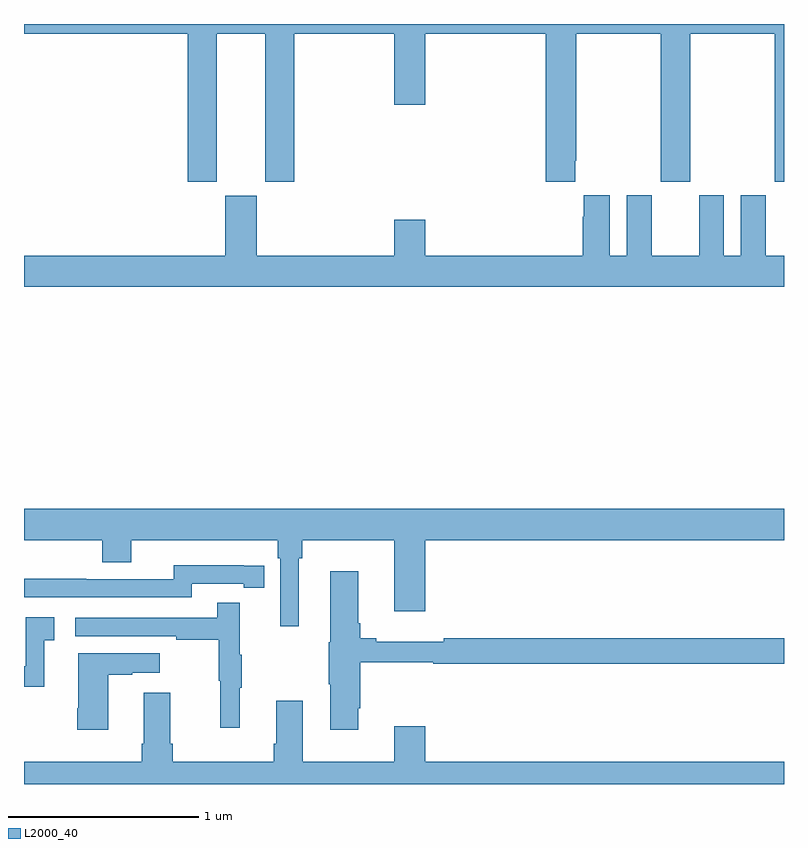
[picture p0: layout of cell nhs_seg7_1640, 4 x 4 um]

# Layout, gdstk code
import gdstk
lib = gdstk.Library(unit=1e-6, precision=1e-09)
def P(c, l, *ps):  # polygons
    for p in ps: c.add(gdstk.Polygon(p, *l))
L2000_40 = (2000, 40)

nhs_seg7_1640 = lib.new_cell('nhs_seg7_1640')
P(nhs_seg7_1640, L2000_40, [(224.014,1001.948),(224.27,1001.948),(224.27,1001.169),(224.423,1001.169),(224.423,1001.948),(224.948,1001.948),(224.948,1001.574),(225.112,1001.574),(225.112,1001.948),(225.746,1001.948),(225.746,1001.169),(225.901,1001.169),(225.901,1001.281),(225.906,1001.281),(225.906,1001.948),(226.351,1001.948),(226.351,1001.169),(226.506,1001.169),(226.506,1001.948),(226.951,1001.948),(226.951,1001.169),(227,1001.169),(227,1002),(223,1002),(223,1001.948),(223.862,1001.948),(223.862,1001.169),(224.014,1001.169)],
  [(227,1000.78),(226.903,1000.78),(226.903,1001.098),(226.772,1001.098),(226.772,1000.78),(226.684,1000.78),(226.684,1001.098),(226.553,1001.098),(226.553,1000.78),(226.303,1000.78),(226.303,1001.098),(226.172,1001.098),(226.172,1000.78),(226.084,1000.78),(226.084,1001.098),(225.947,1001.098),(225.947,1000.985),(225.941,1000.985),(225.941,1000.78),(225.112,1000.78),(225.112,1000.969),(224.948,1000.969),(224.948,1000.78),(224.224,1000.78),(224.224,1001.097),(224.06,1001.097),(224.06,1000.78),(223,1000.78),(223,1000.616),(227,1000.616)],
  [(224.446,999.188),(224.465,999.188),(224.465,999.284),(224.948,999.284),(224.948,998.91),(225.112,998.91),(225.112,999.284),(227,999.284),(227,999.448),(223,999.448),(223,999.284),(223.412,999.284),(223.412,999.167),(223.564,999.167),(223.564,999.284),(224.336,999.284),(224.336,999.188),(224.349,999.188),(224.349,998.829),(224.446,998.829)],
  [(223.884,999.054),(224.156,999.054),(224.156,999.034),(224.264,999.034),(224.264,999.15),(224.156,999.15),(224.156,999.151),(223.788,999.151),(223.788,999.078),(223.328,999.078),(223.328,999.08),(223,999.08),(223,998.982),(223.884,998.982)],
  [(224.758,998.398),(224.771,998.398),(224.771,998.64),(225.154,998.64),(225.154,998.632),(227,998.632),(227,998.768),(225.208,998.768),(225.208,998.749),(224.854,998.749),(224.854,998.768),(224.771,998.768),(224.771,998.845),(224.758,998.845),(224.758,999.121),(224.612,999.121),(224.612,998.745),(224.605,998.745),(224.605,998.524),(224.612,998.524),(224.612,998.286),(224.758,998.286)],
  [(224.135,998.507),(224.146,998.507),(224.146,998.681),(224.135,998.681),(224.135,998.953),(224.017,998.953),(224.017,998.874),(223.269,998.874),(223.269,998.778),(223.801,998.778),(223.801,998.758),(224.025,998.758),(224.025,998.544),(224.032,998.544),(224.032,998.295),(224.135,998.295)],
  [(223.106,998.757),(223.159,998.757),(223.159,998.878),(223.008,998.878),(223.008,998.619),(223,998.619),(223,998.511),(223.106,998.511)],
  [(223.444,998.575),(223.571,998.575),(223.571,998.585),(223.714,998.585),(223.714,998.689),(223.286,998.689),(223.286,998.398),(223.279,998.398),(223.279,998.286),(223.444,998.286)],
  [(227,998.116),(225.112,998.116),(225.112,998.305),(224.948,998.305),(224.948,998.116),(224.467,998.116),(224.467,998.437),(224.327,998.437),(224.327,998.212),(224.315,998.212),(224.315,998.116),(223.784,998.116),(223.784,998.212),(223.771,998.212),(223.771,998.479),(223.631,998.479),(223.631,998.212),(223.619,998.212),(223.619,998.116),(223,998.116),(223,998),(227,998)])

lib.write_gds('nhs_seg7_1640.gds')
